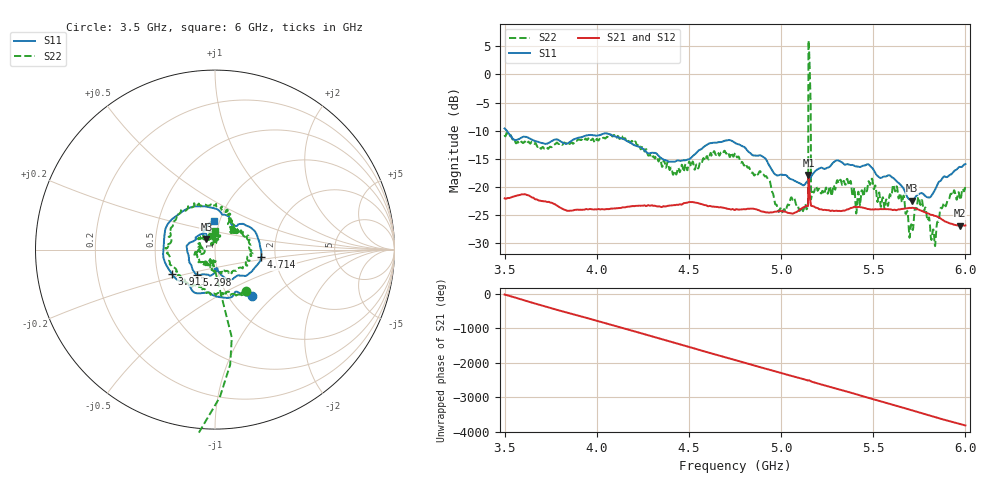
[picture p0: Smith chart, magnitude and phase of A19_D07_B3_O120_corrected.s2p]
! Created with skrf 1.9.0 (http://scikit-rf.org).
# Hz S RI R 50.0
!freq ReS11 ImS11 ReS21 ImS21 ReS12 ImS12 ReS22 ImS22
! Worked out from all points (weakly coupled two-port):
!   1601 points, 3.5 GHz to 6 GHz, reference 50 ohm
!   highest |S21| = -17.86 dB at 5.148 GHz (marker M1); lowest = -26.8 dB at 5.972 GHz (marker M2)
!   lowest |S11| = -22.4 dB at 5.711 GHz (marker M3), VSWR 1.16, Z = 45.1 + j5.35 ohm
!   |S11| at or under -10 dB: 3.512 GHz to end of sweep
!   |S22| runs from -30.5 to 6.0 dB; largest |S21 - S12| = 0.001
!   S11 on the Smith chart (normalised r, x): 3.5 GHz: 1.27, -0.74; 3.911 GHz: 0.59, -0.17; 4.714 GHz: 1.69, -0.15; 5.298 GHz: 0.79, -0.23; 6 GHz: 0.94, +0.31
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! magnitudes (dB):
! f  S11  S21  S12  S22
! 3.5 GHz  -9.6  -22.0  -22.0  -10.8
! 3.911 GHz  -11.2  -24.0  -24.0  -11.7
! 3.917 GHz  -11.1  -24.1  -24.0  -11.6
! 4.334 GHz  -14.4  -23.4  -23.4  -15.4
! 4.714 GHz  -11.7  -23.9  -23.9  -13.9
! 4.75 GHz  -12.1  -24.1  -24.0  -14.0
! 4.928 GHz  -15.7  -24.5  -24.5  -18.6
! 4.994 GHz  -17.8  -24.3  -24.2  -23.9
! 5.111 GHz  -19.5  -23.8  -23.8  -23.6
! 5.134 GHz  -19.3  -23.4  -23.4  -23.4
! 5.148 GHz  -18.8  -17.9  -17.9  6.0
! 5.161 GHz  -18.3  -22.9  -22.8  -6.0
! 5.167 GHz  -17.9  -23.4  -23.3  -21.2
! 5.175 GHz  -17.5  -23.4  -23.4  -20.9
! 5.298 GHz  -15.3  -24.2  -24.2  -19.6
! 5.584 GHz  -17.9  -24.0  -23.9  -22.4
! 5.619 GHz  -18.7  -24.0  -24.1  -20.8
! 5.711 GHz  -22.4  -23.7  -23.6  -27.1
! 5.755 GHz  -21.1  -24.1  -24.1  -23.0
! 5.827 GHz  -21.0  -25.0  -25.0  -27.5
! 5.972 GHz  -16.4  -26.8  -26.8  -22.3
! 6 GHz  -15.9  -26.8  -26.8  -19.8
